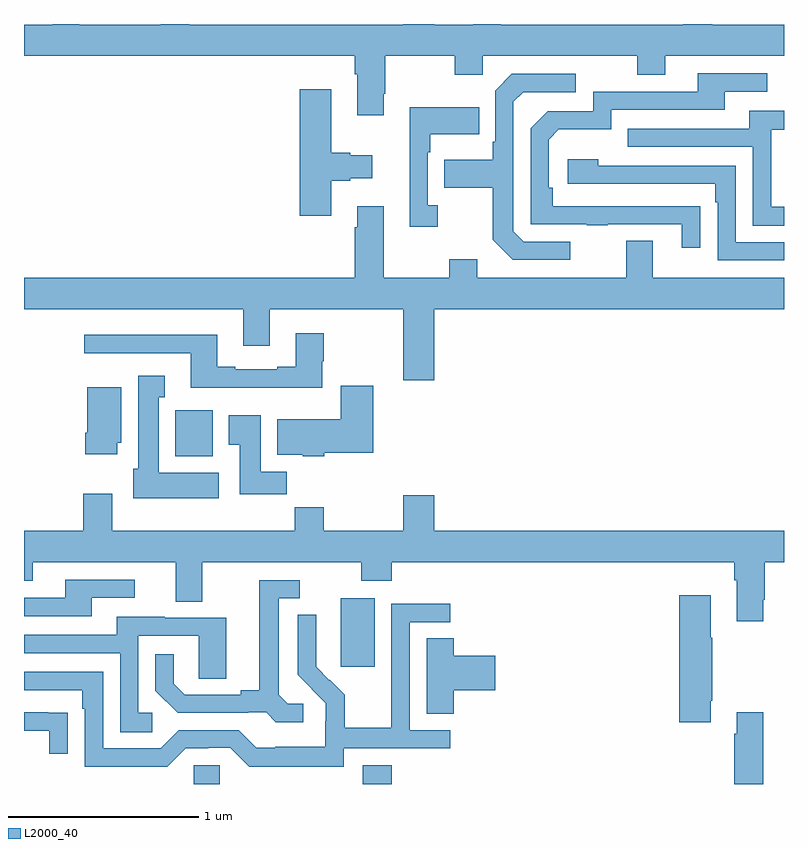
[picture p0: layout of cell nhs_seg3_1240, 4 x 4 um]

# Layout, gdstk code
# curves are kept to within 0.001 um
import gdstk
lib = gdstk.Library(unit=1e-6, precision=1e-09)
def R(c, l, rs):  # rectangles x0, y0, x1, y1
    for r in rs: c.add(gdstk.rectangle(r[:2], r[2:], *l))
def P(c, l, *ps):  # polygons
    for p in ps: c.add(gdstk.Polygon(p, *l))
L2000_40 = (2000, 40)

nhs_seg3_1240 = lib.new_cell('nhs_seg3_1240')
R(nhs_seg3_1240, L2000_40, [(175.893,714.4,176.031,714.498), (176.783,714.4,176.936,714.499), (176.666,715.017,176.845,715.378), (175.796,716.126,175.993,716.368)])
P(nhs_seg3_1240, L2000_40, [(177.268,718.133),(177.414,718.133),(177.414,718.232),(178.228,718.232),(178.228,718.133),(178.375,718.133),(178.375,718.232),(179,718.232),(179,718.396),(178.622,718.396),(178.622,718.4),(178.469,718.4),(178.469,718.396),(177.509,718.396),(177.509,718.4),(177.365,718.4),(177.365,718.396),(177.16,718.396),(177.16,718.4),(176.996,718.4),(176.996,718.396),(175.869,718.396),(175.869,718.4),(175.721,718.4),(175.721,718.396),(175.291,718.396),(175.291,718.4),(175.151,718.4),(175.151,718.396),(175,718.396),(175,718.232),(176.741,718.232),(176.741,718.136),(176.753,718.136),(176.753,717.921),(176.893,717.921),(176.893,718.033),(176.901,718.033),(176.901,718.232),(177.268,718.232)],
  [(178.559,717.44),(177.782,717.441),(177.782,717.538),(177.762,717.538),(177.762,717.792),(177.815,717.845),(178.092,717.845),(178.092,717.948),(178.687,717.948),(178.687,718.044),(178.912,718.044),(178.912,718.14),(178.547,718.14),(178.547,718.044),(177.996,718.044),(177.996,717.942),(177.756,717.942),(177.666,717.852),(177.666,717.345),(177.961,717.345),(177.961,717.34),(178.073,717.34),(178.073,717.345),(178.463,717.345),(178.463,717.222),(178.559,717.222)],
  [(177.874,717.255),(177.63,717.255),(177.576,717.309),(177.576,717.99),(177.627,718.041),(177.904,718.041),(177.904,718.137),(177.567,718.137),(177.48,718.05),(177.48,717.781),(177.468,717.781),(177.468,717.685),(177.211,717.685),(177.211,717.538),(177.468,717.538),(177.468,717.265),(177.573,717.159),(177.874,717.159)],
  [(176.617,717.575),(176.717,717.575),(176.717,717.587),(176.833,717.587),(176.833,717.709),(176.717,717.709),(176.717,717.722),(176.617,717.722),(176.617,718.057),(176.45,718.057),(176.45,717.39),(176.617,717.39)],
  [(177.178,717.446),(177.126,717.446),(177.126,717.725),(177.139,717.725),(177.139,717.821),(177.395,717.821),(177.395,717.961),(177.029,717.961),(177.029,717.333),(177.178,717.333)],
  [(179,717.438),(178.932,717.438),(178.932,717.843),(179,717.843),(179,717.943),(178.817,717.943),(178.817,717.849),(178.177,717.849),(178.177,717.753),(178.836,717.753),(178.836,717.337),(179,717.337)],
  [(179,717.252),(178.746,717.252),(178.746,717.654),(178.022,717.654),(178.022,717.688),(177.861,717.688),(177.861,717.558),(178.637,717.558),(178.637,717.461),(178.65,717.461),(178.65,717.156),(179,717.156)],
  [(176.893,717.442),(176.753,717.442),(176.753,717.329),(176.741,717.329),(176.741,717.064),(175,717.064),(175,716.9),(176.153,716.9),(176.153,716.706),(176.293,716.706),(176.293,716.9),(176.996,716.9),(176.996,716.526),(177.16,716.526),(177.16,716.9),(179,716.9),(179,717.064),(178.309,717.064),(178.309,717.259),(178.169,717.259),(178.169,717.064),(177.385,717.064),(177.385,717.163),(177.238,717.163),(177.238,717.064),(176.893,717.064)],
  [(176.569,716.625),(176.577,716.625),(176.577,716.773),(176.429,716.773),(176.429,716.596),(176.333,716.596),(176.333,716.583),(176.113,716.583),(176.113,716.596),(176.017,716.596),(176.017,716.764),(175.317,716.764),(175.317,716.667),(175.877,716.667),(175.877,716.486),(176.569,716.486)],
  [(176.026,716.038),(175.708,716.038),(175.708,716.435),(175.741,716.435),(175.741,716.548),(175.601,716.548),(175.601,716.058),(175.574,716.058),(175.574,715.904),(176.026,715.904)],
  [(176.58,716.144),(176.837,716.144),(176.837,716.497),(176.666,716.497),(176.666,716.32),(176.333,716.32),(176.333,716.132),(176.466,716.132),(176.466,716.126),(176.58,716.126)],
  [(175.492,716.196),(175.513,716.196),(175.513,716.488),(175.334,716.488),(175.334,716.248),(175.322,716.248),(175.322,716.136),(175.492,716.136)],
  [(176.384,716.044),(176.245,716.044),(176.245,716.341),(176.078,716.341),(176.078,716.185),(176.135,716.185),(176.135,715.926),(176.384,715.926)],
  [(178.891,715.369),(178.899,715.369),(178.899,715.568),(179,715.568),(179,715.732),(177.16,715.732),(177.16,715.921),(176.996,715.921),(176.996,715.732),(176.577,715.732),(176.577,715.856),(176.425,715.856),(176.425,715.732),(175.465,715.732),(175.465,715.927),(175.313,715.927),(175.313,715.732),(175,715.732),(175,715.469),(175.045,715.469),(175.045,715.568),(175.799,715.568),(175.799,715.36),(175.939,715.36),(175.939,715.568),(176.776,715.568),(176.776,715.469),(176.936,715.469),(176.936,715.568),(178.739,715.568),(178.739,715.472),(178.751,715.472),(178.751,715.257),(178.891,715.257)],
  [(175.357,715.38),(175.582,715.38),(175.582,715.476),(175.217,715.476),(175.217,715.38),(175,715.38),(175,715.284),(175.357,715.284)],
  [(176.47,714.822),(176.388,714.822),(176.341,714.869),(176.341,715.377),(176.452,715.377),(176.452,715.473),(176.237,715.473),(176.237,714.893),(176.141,714.893),(176.141,714.87),(175.846,714.87),(175.789,714.927),(175.789,715.084),(175.692,715.084),(175.692,714.89),(175.808,714.774),(176.18,714.774),(176.18,714.777),(176.274,714.777),(176.326,714.725),(176.47,714.725)],
  [(178.615,714.838),(178.623,714.838),(178.623,715.169),(178.615,715.169),(178.615,715.393),(178.448,715.393),(178.448,714.726),(178.615,714.726)],
  [(176.682,714.588),(177.244,714.588),(177.244,714.684),(177.03,714.684),(177.03,715.251),(177.244,715.251),(177.244,715.35),(176.934,715.35),(176.934,714.92),(176.932,714.92),(176.932,714.697),(176.687,714.697),(176.687,714.871),(176.61,714.948),(176.607,714.945),(176.537,715.016),(176.538,715.292),(176.442,715.292),(176.442,714.974),(176.588,714.826),(176.588,714.729),(176.586,714.729),(176.586,714.595),(176.323,714.595),(176.323,714.591),(176.223,714.591),(176.13,714.684),(175.815,714.684),(175.719,714.588),(175.416,714.588),(175.416,714.99),(175,714.99),(175,714.894),(175.307,714.894),(175.307,714.797),(175.32,714.797),(175.32,714.492),(175.755,714.492),(175.851,714.588),(175.97,714.588),(175.97,714.591),(176.085,714.591),(176.185,714.491),(176.682,714.491)],
  [(175.675,714.774),(175.602,714.774),(175.602,715.179),(175.92,715.179),(175.92,714.955),(176.065,714.955),(176.065,715.275),(175.741,715.275),(175.741,715.279),(175.487,715.279),(175.487,715.185),(175,715.185),(175,715.089),(175.506,715.089),(175.506,714.673),(175.675,714.673)],
  [(177.263,714.893),(177.481,714.893),(177.481,715.076),(177.263,715.076),(177.263,715.166),(177.119,715.166),(177.119,714.769),(177.263,714.769)],
  [(178.891,714.778),(178.751,714.778),(178.751,714.665),(178.739,714.665),(178.739,714.4),(178.891,714.4)],
  [(175.229,714.776),(175.127,714.776),(175.127,714.777),(175,714.777),(175,714.681),(175.133,714.681),(175.133,714.558),(175.229,714.558)])

lib.write_gds('nhs_seg3_1240.gds')
